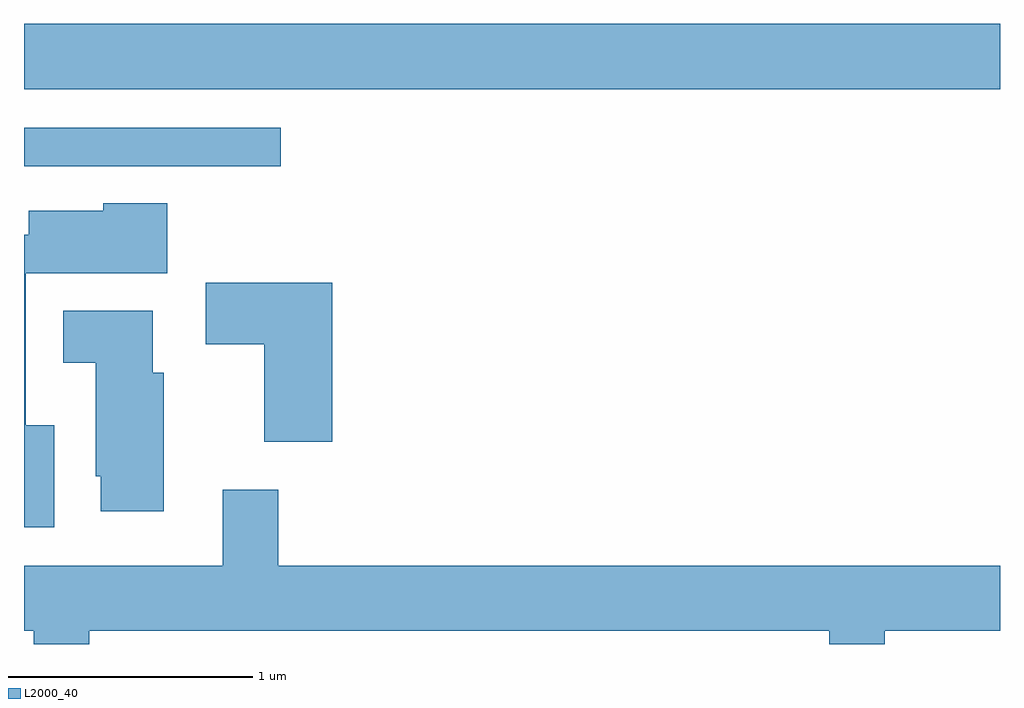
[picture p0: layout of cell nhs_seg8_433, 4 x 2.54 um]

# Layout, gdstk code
import gdstk
lib = gdstk.Library(unit=1e-6, precision=1e-09)
def R(c, l, rs):  # rectangles x0, y0, x1, y1
    for r in rs: c.add(gdstk.rectangle(r[:2], r[2:], *l))
def P(c, l, *ps):  # polygons
    for p in ps: c.add(gdstk.Polygon(p, *l))
L2000_40 = (2000, 40)

nhs_seg8_433 = lib.new_cell('nhs_seg8_433')
R(nhs_seg8_433, L2000_40, [(197.611,1858.301,198.663,1858.459), (197.611,1858.616,201.611,1858.884)])
P(nhs_seg8_433, L2000_40, [(197.734,1857.239),(197.619,1857.239),(197.619,1857.861),(198.199,1857.861),(198.199,1858.149),(197.936,1858.149),(197.936,1858.119),(197.631,1858.119),(197.631,1858.019),(197.611,1858.019),(197.611,1856.821),(197.734,1856.821)],
  [(198.874,1857.824),(198.356,1857.824),(198.356,1857.571),(198.596,1857.571),(198.596,1857.171),(198.874,1857.171)],
  [(198.184,1857.454),(198.139,1857.454),(198.139,1857.709),(197.771,1857.709),(197.771,1857.496),(197.906,1857.496),(197.906,1857.031),(197.926,1857.031),(197.926,1856.886),(198.184,1856.886)],
  [(197.879,1856.396),(200.911,1856.396),(200.911,1856.342),(201.139,1856.342),(201.139,1856.396),(201.611,1856.396),(201.611,1856.664),(198.654,1856.664),(198.654,1856.974),(198.426,1856.974),(198.426,1856.664),(197.611,1856.664),(197.611,1856.396),(197.651,1856.396),(197.651,1856.342),(197.879,1856.342)])

lib.write_gds('nhs_seg8_433.gds')
